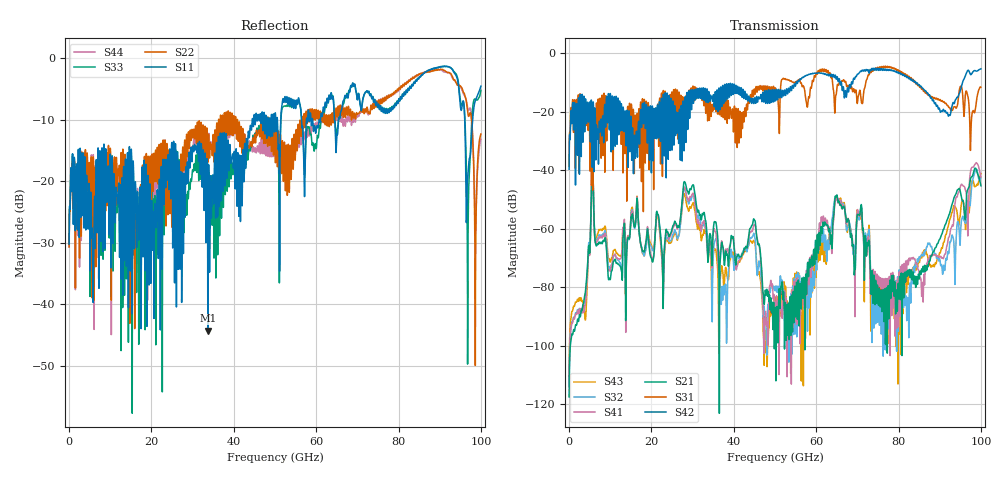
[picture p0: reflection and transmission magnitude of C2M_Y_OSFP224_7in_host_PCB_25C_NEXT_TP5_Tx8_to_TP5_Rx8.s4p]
# GHz S RI R 45
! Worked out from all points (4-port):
!   4000 points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, 25 MHz to 100 GHz, reference 45 ohm
!   strongest paths, dB at 25 MHz, 25.02 GHz, 50.02 GHz, 75.03 GHz, 100 GHz:
!     S42: -39.7, -30.3, -13.7, -5.3, -5.4
!     S31: -38.6, -13.7, -12.1, -4.9, -11.6
!     S21: -117.5, -60.1, -87.7, -82.2, -45.3
!     S41: -114.0, -60.9, -85.2, -78.3, -42.3
!     S32: -113.6, -63.1, -81.2, -84.8, -42.5
!     S43: -110.5, -63.9, -84.9, -78.6, -41.2
!   lowest |S11| = -44.3 dB at 33.7 GHz (marker M1), VSWR 1.01, Z = 45.3 - j0.454 ohm
!   |S11| at or under -10 dB: start of sweep to 44.49 GHz; 59.15 GHz to 60.73 GHz (1.575 GHz wide, 2.63 % of centre); 96.08 GHz to 98 GHz (1.927 GHz wide, 1.99 % of centre) (the widest 3 of 23)
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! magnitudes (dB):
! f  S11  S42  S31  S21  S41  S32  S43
! 25 MHz  -30.2  -39.7  -38.6  -117.5  -114.0  -113.6  -110.5
! 5.7 GHz  -30.3  -23.4  -33.4  -40.9  -40.8  -40.8  -40.7
! 9.875 GHz  -18.9  -18.6  -22.1  -77.1  -74.2  -73.4  -70.8
! 33.7 GHz  -44.3  -16.4  -21.4  -71.4  -69.2  -63.6  -64.2
! 65.08 GHz  -12.4  -8.1  -11.4  -48.6  -48.8  -49.4  -49.8
! 85.88 GHz  -2.7  -12.0  -12.4  -74.2  -80.0  -69.4  -68.1
! 100 GHz  -4.6  -5.4  -11.6  -45.3  -42.3  -42.5  -41.2
